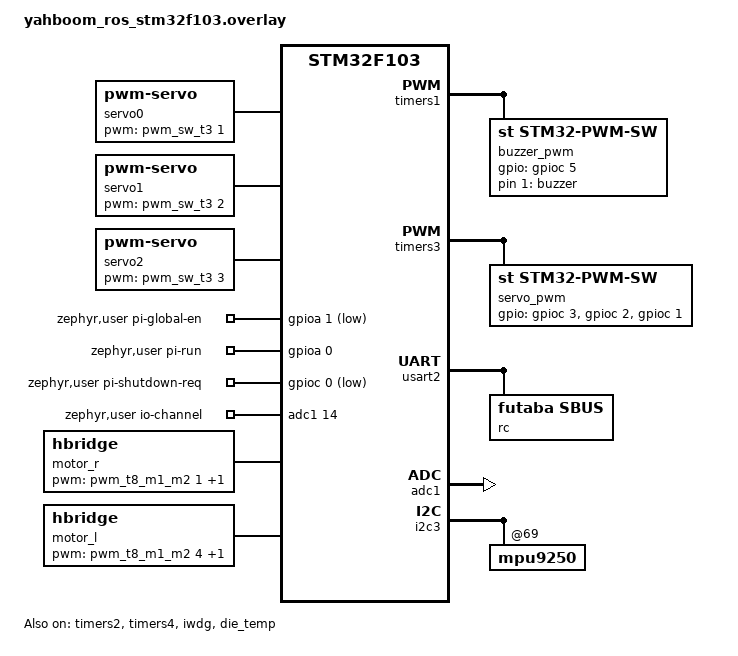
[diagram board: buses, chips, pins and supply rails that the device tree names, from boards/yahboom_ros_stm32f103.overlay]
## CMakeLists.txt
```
# SPDX-License-Identifier: Apache-2.0

cmake_minimum_required(VERSION 3.20.0)
find_package(Zephyr REQUIRED HINTS $ENV{ZEPHYR_BASE})
project(servo_motor)

execute_process(
    COMMAND git -C ${CMAKE_SOURCE_DIR} rev-parse --short HEAD
    OUTPUT_VARIABLE APP_GIT_SHA
    OUTPUT_STRIP_TRAILING_WHITESPACE
    ERROR_QUIET
)
if(NOT APP_GIT_SHA)
    set(APP_GIT_SHA "unknown")
endif()

target_sources(app PRIVATE src/main.c src/buzzer.c src/battery.c src/motor.c src/rc.c src/servo.c src/imu.c src/selftest.c src/protocol.c src/comms.c src/pi.c)
target_sources_ifdef(CONFIG_COMMS_MON app PRIVATE src/comms_mon.c)
target_compile_definitions(app PRIVATE APP_GIT_SHA="${APP_GIT_SHA}")
```

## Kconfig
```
# Copyright (c) 2024
# SPDX-License-Identifier: Apache-2.0

mainmenu "PICAR-2 Yahboom firmware"

config COMMS_MON
	bool "Enable comms monitor shell command"
	depends on SHELL
	default y
	help
	  Enables the 'comms mon' shell command that prints incoming Pi→STM32
	  frames in real time. Disable to save flash when the shell monitor
	  is not needed.

source "Kconfig.zephyr"
```

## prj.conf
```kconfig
CONFIG_STDOUT_CONSOLE=y
CONFIG_PRINTK=y

CONFIG_PWM=y

CONFIG_INPUT=y
CONFIG_INPUT_SBUS=y
CONFIG_INPUT_SBUS_THREAD_STACK_SIZE=512

CONFIG_ADC=y

CONFIG_SENSOR=y
CONFIG_QDEC_STM32=y
CONFIG_STM32_TEMP=y

CONFIG_MOTOR=y
CONFIG_MOTOR_HBRIDGE=y

CONFIG_SHELL=y
#CONFIG_SHELL_GETOPT=y
CONFIG_PWM_SHELL=y
CONFIG_GPIO_SHELL=y
CONFIG_SENSOR_SHELL=y
CONFIG_ADC_SHELL=y
CONFIG_SETTINGS_SHELL=y

CONFIG_THREAD_ANALYZER=y
#CONFIG_THREAD_ANALYZER_USE_PRINTK=y
#CONFIG_THREAD_ANALYZER_AUTO=y
#CONFIG_THREAD_ANALYZER_AUTO_INTERVAL=5

CONFIG_LOG=y
CONFIG_MOTOR_LOG_LEVEL_DBG=y

CONFIG_PICOLIBC=y
CONFIG_CBPRINTF_FP_SUPPORT=y

CONFIG_ISR_STACK_SIZE=1024
CONFIG_REBOOT=y

# Reset cause — pi.c uses it to tell a power-on from a warm reset, so an STM32
# reboot does not gate a Raspberry Pi that is already running.
CONFIG_HWINFO=y

CONFIG_UART_INTERRUPT_DRIVEN=y
CONFIG_UART_ASYNC_API=y
CONFIG_DMA=y
CONFIG_RING_BUFFER=y

# Shell UART backend buffers — 64-byte RX default overflows on paste and
# triggers LOG_WRN from ISR context; with LOG_MODE_IMMEDIATE that formats
# a string synchronously taking >10 µs, causing UART overrun (ORE) at
# 921600 baud and eating the next byte — exactly how ESC[A loses its '['.
# 256-byte RX prevents overflow; 256-byte TX prevents echo stalls.
# Suppress shell_uart WRN so even a future overflow won't re-enter msg_process
# from ISR with immediate-mode logging active.
CONFIG_SHELL_BACKEND_SERIAL_RX_RING_BUFFER_SIZE=256
CONFIG_SHELL_BACKEND_SERIAL_TX_RING_BUFFER_SIZE=256
CONFIG_SHELL_BACKEND_SERIAL_LOG_LEVEL_ERR=y
# Use DMA async API for the shell UART so the DMA controller handles every
# byte; eliminates per-byte RXNE ISR and the ORE overrun it caused at 921600.
CONFIG_SHELL_ASYNC_API=y
CONFIG_SHELL_BACKEND_SERIAL_ASYNC_RX_BUFFER_SIZE=64
```

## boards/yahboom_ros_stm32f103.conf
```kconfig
CONFIG_PWM_STM32_SW=y
CONFIG_SENSOR=y
CONFIG_PWM_STM32=y
CONFIG_MPU9250=y
CONFIG_MPU9250_TRIGGER_NONE=y
CONFIG_I2C=y
CONFIG_I2C_GPIO=y
CONFIG_I2C_SHELL=y
CONFIG_ZERO_LATENCY_IRQS=y

CONFIG_FLASH=y
CONFIG_FLASH_MAP=y
CONFIG_NVS=y
CONFIG_SETTINGS=y
CONFIG_SETTINGS_NVS=y
CONFIG_LOG=y

# picolibc 1.8.x in SDK 0.17.x has incompatible lock types with Zephyr v3.7.0
CONFIG_NEWLIB_LIBC=y
```

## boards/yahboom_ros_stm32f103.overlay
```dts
/* SPDX-License-Identifier: Apache-2.0 */
#include <zephyr/dt-bindings/sensor/qdec_stm32.h>
#include <zephyr/dt-bindings/input/input-event-codes.h>
/* Added after Zephyr 3.4 — define for older versions */
#ifndef INPUT_REL_WHEEL
#define INPUT_REL_WHEEL  0x08
#endif
#ifndef INPUT_ABS_RUDDER
#define INPUT_ABS_RUDDER 0x07
#endif
#ifndef INPUT_ABS_GAS
#define INPUT_ABS_GAS    0x09
#endif
#ifndef INPUT_ABS_BRAKE
#define INPUT_ABS_BRAKE  0x0a
#endif

/ {
	chosen {
		/* zephyr,uart-pipe = &usart1; */
	};

    servo0: nrf-servo0 {
        compatible = "pwm-servo";
        pwms = <&pwm_sw_t3 1 PWM_MSEC(20) PWM_POLARITY_NORMAL>;
        init_value = <1480>;
        min_pulse_us = <885>;
        max_pulse_us = <2025>;
        status = "okay";
    };

    servo1: servo1 {
        compatible = "pwm-servo";
        pwms = <&pwm_sw_t3 2 PWM_MSEC(20) PWM_POLARITY_NORMAL>;
        init_value = <1280>;
        min_pulse_us = <600>;
        max_pulse_us = <1960>;
        status = "okay";
    };

    servo2: servo2 {
        compatible = "pwm-servo";
        pwms = <&pwm_sw_t3 3 PWM_MSEC(20) PWM_POLARITY_NORMAL>;
        init_value = <2150>;
        min_pulse_us = <1100>;
        max_pulse_us = <2500>;
        status = "okay";
    };

	pwmbuzzer {
		compatible = "pwm-leds";
		status = "okay";

		buzzer: buzzer_pwm {
			pwms = <&pwm_sw_t1 1 PWM_HZ(880) PWM_POLARITY_NORMAL>;
		};
	};

	zephyr,user {
		/* adjust channel number according to pinmux in board.dts */
		io-channels = <&adc1 14>;

		/* Raspberry Pi 4 power control — J2 header.
		 * GLOBAL_EN (PA1): open-drain, idle Hi-Z. A low pulse restarts the
		 *   PMIC, which is how the Pi is woken after a POWER_OFF_ON_HALT
		 *   shutdown (GPIO wake is disabled in that mode).
		 * RUN (PA0): sense only. Sits behind a pull-up to the Pi's 3.3 V
		 *   rail, so it reads high while the Pi is powered and low when it
		 *   is not. Never driven — it is the SoC reset line. */
		pi-global-en-gpios = <&gpioa 1 GPIO_ACTIVE_LOW>;
		pi-run-gpios = <&gpioa 0 GPIO_ACTIVE_HIGH>;

		/* SHUTDOWN_REQ (PC0) → the Pi's GPIO26, running
		 * dtoverlay=gpio-shutdown. Open-drain, idle Hi-Z; a low pulse is
		 * turned into KEY_POWER by the Pi's kernel and logind runs a
		 * clean poweroff. Freed from pwm_sw_t3 channel 4 below. */
		pi-shutdown-req-gpios = <&gpioc 0 GPIO_ACTIVE_LOW>;
	};

	motor_r: motor_r {
        compatible = "hbridge";
        qdec-dev = < &qdec_r >;
        counts-per-rev = <824>;
        pwms = <&pwm_t8_m1_m2 1 PWM_MSEC(1) PWM_POLARITY_NORMAL>,
				<&pwm_t8_m1_m2 2 PWM_MSEC(1) PWM_POLARITY_NORMAL>;
		pid-gains = <91 0 100 100>; /* Kp=0.91 Kd=0 Ki=1.0 Ko=100 */
        status = "okay";
    };

	motor_l: motor_l {
        compatible = "hbridge";
        qdec-dev = < &qdec_l >;
        counts-per-rev = <824>;
        pwms = <&pwm_t8_m1_m2 4 PWM_MSEC(1) PWM_POLARITY_NORMAL>,
				<&pwm_t8_m1_m2 3 PWM_MSEC(1) PWM_POLARITY_NORMAL>;
		pid-gains = <91 0 100 100>; /* Kp=0.91 Kd=0 Ki=1.0 Ko=100 */
        status = "okay";
    };

};

&timers1 {
	st,prescaler = <100>;
	status = "okay";

	pwm_sw_t1: sw_pwm {
		compatible = "st,stm32-pwm-sw";
		status = "okay";
		label = "buzzer_pwm";
		gpios = <&gpioc 5 GPIO_ACTIVE_HIGH>;
		channels = <1>;
		#pwm-cells = <3>;
	};
};

&timers2 {
	st,prescaler = <1000>;
	status = "okay";

	qdec_r: qdec_r {
		status = "okay";
		compatible="st,stm32-input-qdec";
		pinctrl-0 = <&tim2_ch1_remap1_pwm_in_pa15 &tim2_ch2_remap1_pwm_in_pb3>;
		pinctrl-names = "default";
		st,input-filter-level = <NO_FILTER>;
		sample-time-us = <50000>;
		zephyr,axis = <INPUT_REL_WHEEL>;
	};
};

&timers3 {
	st,prescaler = <1000>;
	status = "okay";

	pwm_sw_t3: sw_pwm {
		compatible = "st,stm32-pwm-sw";
		status = "okay";
		zero-latency;
		label = "servo_pwm";
		/* Channel 4 (PC0) was declared but never referenced by a servo;
		 * PC0 is now SHUTDOWN_REQ, see zephyr,user above. */
		gpios = <&gpioc 3 GPIO_ACTIVE_HIGH>,
				<&gpioc 2 GPIO_ACTIVE_HIGH>,
				<&gpioc 1 GPIO_ACTIVE_HIGH>;
		channels = <1 2 3>;
		#pwm-cells = <3>;
	};
};

&timers4 {
	st,prescaler = <1000>;
	status = "okay";

	qdec_l: qdec_l {
		status = "okay";
		compatible="st,stm32-input-qdec";
		pinctrl-0 = <&tim2_ch1_remap1_pwm_in_pa15 &tim2_ch2_remap1_pwm_in_pb3>;
		pinctrl-names = "default";
		st,input-filter-level = <NO_FILTER>;
		sample-time-us = <50000>;
		zephyr,axis = <INPUT_REL_WHEEL>;
	};
};

&timers8 {
	st,prescaler = <1000>;
	status = "disabled";

	pwm_t8_m1_m2: pwm {
		label = "pwm_t8_m1_m2";
		status = "okay";
	};

};

/* Shell console: switch to DMA async RX+TX so the DMA controller handles
 * each byte without a per-byte ISR.  At 921600 baud the one-byte window is
 * only 10.85 µs; any zero-latency timer preemption causes ORE in IRQ mode.
 * STM32F103 DMA1: CH3 = USART3 RX, CH2 = USART3 TX (SPI1 not used). */
&usart3 {
	dmas = <&dma1 3 (STM32_DMA_PERIPH_RX | STM32_DMA_PRIORITY_HIGH)>,
	       <&dma1 2 (STM32_DMA_PERIPH_TX | STM32_DMA_PRIORITY_HIGH)>;
	dma-names = "rx", "tx";
};

&usart2 {
	status = "okay";
	rc: sbus {
		compatible = "futaba,sbus";
		status = "okay";
		ch_1 {
			channel = <1>;
			type = <INPUT_EV_ABS>;
			zephyr,code = <INPUT_ABS_RUDDER>;
		};
		ch_2 {
			channel = <2>;
			type = <INPUT_EV_ABS>;
			zephyr,code = <INPUT_ABS_GAS>;
		};
		ch_3 {
			channel = <3>;
			type = <INPUT_EV_ABS>;
			zephyr,code = <INPUT_ABS_BRAKE>;
		};
		ch_5 {
			channel = <5>;
			type = <INPUT_EV_KEY>;
			zephyr,code = <INPUT_BTN_SELECT>;  /* RC override switch */
		};
		ch_6 {
			channel = <6>;
			type = <INPUT_EV_KEY>;
			zephyr,code = <INPUT_BTN_MODE>;
		};
	};
};

&adc1 {
	status = "okay";
};

&iwdg {
	status = "okay";
};

&die_temp {
	status = "okay";
};

/* INA219 on bit-bang I2C4 (PC0=SCL, PC1=SDA) — disabled; PC0/PC1 freed for pan/tilt servos */
&i2c4 {
	status = "disabled";
	ina219: ina219@41 {
		status = "disabled";
	};
};

/* MPU9250 on bit-bang I2C3 (PB13=SCL, PB15=SDA) */
&i2c3 {
	status = "okay";
	mpu9250: mpu9250@69 {
		status = "okay";
	};
};
```

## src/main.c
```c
/*
 * Copyright (c) 2016 Intel Corporation
 *
 * SPDX-License-Identifier: Apache-2.0
 */

/**
 * @file Sample app to demonstrate PWM-based servomotor control
 */

#include <zephyr/kernel.h>
#include <zephyr/sys/printk.h>
#include <zephyr/sys/reboot.h>
#include <zephyr/version.h>
#include <soc.h>
#include <zephyr/device.h>
#include <zephyr/drivers/pwm.h>
#include <zephyr/drivers/rc.h>
#include <zephyr/drivers/uart.h>
#include <zephyr/drivers/uart_pipe.h>
#include "zephyr/drivers/motor.h"
#include <zephyr/logging/log.h>
#include <zephyr/shell/shell.h>
#include <zephyr/input/input.h>
//#include <unistd.h>
#include <ctype.h>
#include <stdlib.h>
#include <stdio.h>

#include "battery.h"
#include "buzzer.h"
#include "comms.h"
#include "imu.h"
#include "motor.h"
#include "pi.h"
#include "power.h"
#include "rc.h"
#include "servo.h"

LOG_MODULE_REGISTER(main, LOG_LEVEL_DBG);

/* STM32F103 system memory (ROM bootloader) address */
#define STM32_SYSTEM_MEMORY 0x1FFFF000U

void system_shutdown(void)
{
	rc_set_enable(0);
	motor_stop_all();
	servo_neutral_all();
	buzzer_stop();
	imu_shutdown();
	power_standby();
}

void power_standby(void)
{
	__disable_irq();
	SysTick->CTRL = 0;

	/* STM32F103 STANDBY: all I/O tri-stated, ~2 µA */
	RCC->APB1ENR |= RCC_APB1ENR_PWREN;
	PWR->CR |= PWR_CR_CWUF;
	PWR->CR |= PWR_CR_PDDS;
	SCB->SCR |= SCB_SCR_SLEEPDEEP_Msk;
	__DSB();
	__WFI();
}

static void jump_to_system_bootloader(void)
{
	uint32_t msp = *(volatile uint32_t *)STM32_SYSTEM_MEMORY;
	uint32_t pc  = *(volatile uint32_t *)(STM32_SYSTEM_MEMORY + 4U);

	/* Disable SysTick */
	SysTick->CTRL = 0;
	SysTick->LOAD = 0;
	SysTick->VAL  = 0;

	/* Disable all IRQs and clear pending */
	for (int i = 0; i < 8; i++) {
		NVIC->ICER[i] = 0xFFFFFFFFU;
		NVIC->ICPR[i] = 0xFFFFFFFFU;
	}

	/* Reset all APB peripherals so the ROM bootloader gets a clean USART1 */
	RCC->APB1RSTR = 0xFFFFFFFFU;
	RCC->APB2RSTR = 0xFFFFFFFFU;
	RCC->APB1RSTR = 0x00000000U;
	RCC->APB2RSTR = 0x00000000U;

	/* Point vector table at system memory */
	SCB->VTOR = STM32_SYSTEM_MEMORY;

	__DSB();
	__ISB();

	__set_MSP(msp);
	((void (*)(void))pc)();
}

#ifdef CONFIG_SHELL
static int cmd_sys_bootloader(const struct shell *sh, size_t argc, char **argv)
{
	shell_print(sh, "entering STM32 bootloader");
	k_msleep(50);
	jump_to_system_bootloader();
	return 0;
}

static int cmd_sys_reboot(const struct shell *sh, size_t argc, char **argv)
{
	shell_print(sh, "rebooting");
	k_msleep(50);
	sys_reboot(SYS_REBOOT_COLD);
	return 0;
}

static int cmd_sys_halt(const struct shell *sh, size_t argc, char **argv)
{
	shell_print(sh, "entering standby — reset pin or power cycle to wake");
	k_msleep(50);
	system_shutdown();
	return 0;
}

static int cmd_sys_uptime(const struct shell *sh, size_t argc, char **argv)
{
	int64_t ms = k_uptime_get();
	shell_print(sh, "%lld d %02lld:%02lld:%02lld.%03lld",
		ms / 86400000,
		ms / 3600000 % 24,
		ms / 60000   % 60,
		ms / 1000    % 60,
		ms           % 1000);
	return 0;
}

static int cmd_sys_version(const struct shell *sh, size_t argc, char **argv)
{
	shell_print(sh, "Zephyr  %s", KERNEL_VERSION_STRING);
	shell_print(sh, "app     %s", APP_GIT_SHA);
	shell_print(sh, "built   %s %s", __DATE__, __TIME__);
	return 0;
}

SHELL_STATIC_SUBCMD_SET_CREATE(sub_sys,
	SHELL_CMD(bootloader, NULL, "reboot into STM32 ROM bootloader", cmd_sys_bootloader),
	SHELL_CMD(halt,       NULL, "enter STANDBY (~2 µA); reset pin or power cycle to wake", cmd_sys_halt),
	SHELL_CMD(reboot,     NULL, "reboot the system", cmd_sys_reboot),
	SHELL_CMD(uptime,     NULL, "print time since boot", cmd_sys_uptime),
	SHELL_CMD(version,    NULL, "print kernel version", cmd_sys_version),
	SHELL_SUBCMD_SET_END
);

SHELL_CMD_REGISTER(sys, &sub_sys, "system commands", NULL);
#endif



int main(void)
{
	printk("Yahboom demo\n");
	buzzer_init();
	battery_init();
	imu_init();
	motor_init();
	servo_init();
	rc_init();
	pi_init();
	comms_init();

	//buzzer_play(BUZZER_FUNKYTOWN, 50);

	return 0;
}
```

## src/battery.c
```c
/*
 * Copyright (c) 2016 Intel Corporation
 *
 * SPDX-License-Identifier: Apache-2.0
 */

#include <zephyr/kernel.h>
#include <zephyr/drivers/adc.h>
#include <zephyr/drivers/adc_compat.h>
#include <zephyr/shell/shell.h>
#include <errno.h>
#include "pi.h"
#include "power.h"

#define ADC2VBAT(x)  ((x) * 4145 / 1000)

/* Set to 3 for 3S or 4 for 4S LiPo */
#define VBAT_CELLS    3

#define VBAT_MAX_MV  (4200 * VBAT_CELLS)  /* 4.2 V/cell — fully charged  */
#define VBAT_LOW_MV  (3500 * VBAT_CELLS)  /* 3.5 V/cell — warn threshold */
#define VBAT_CRIT_MV (3400 * VBAT_CELLS)  /* 3.4 V/cell — halt threshold */
#define VBAT_MIN_MV  (3300 * VBAT_CELLS)  /* 3.3 V/cell — practical empty */

static const struct adc_dt_spec adc_ch_vbat =
    ADC_DT_SPEC_GET_BY_IDX(DT_PATH(zephyr_user), 0);

static void battery_mon_func(struct k_work *work);

K_WORK_DELAYABLE_DEFINE(battery_mon_work, battery_mon_func);

/* ── INA219 (optional) ───────────────────────────────────────────────────── */
#if DT_NODE_HAS_STATUS(DT_NODELABEL(ina219), okay)
#include <zephyr/drivers/sensor.h>

static const struct device *ina219_dev = DEVICE_DT_GET(DT_NODELABEL(ina219));

/* Reads any combination of battery voltage (mv), current (ma), power (mw).
 * mv = V_bus + V_shunt = battery voltage on V+ side of shunt.
 * V_shunt is computed as I × R_shunt (driver does not expose it as a channel).
 * Pass NULL for channels not needed. Returns 0 on success. */
static int ina219_read(int32_t *mv, int32_t *ma, int32_t *mw)
{
	if (!device_is_ready(ina219_dev)) {
		return -ENODEV;
	}
	int err = sensor_sample_fetch(ina219_dev);
	if (err) {
		return err;
	}
	struct sensor_value val;
	int32_t current_ma = 0;

	/* Always read current — needed for V_shunt correction even if caller
	 * only asked for voltage. */
	sensor_channel_get(ina219_dev, SENSOR_CHAN_CURRENT, &val);
	current_ma = val.val1 * 1000 + val.val2 / 1000;

	if (mv) {
		sensor_channel_get(ina219_dev, SENSOR_CHAN_VOLTAGE, &val);
		int32_t bus_mv = val.val1 * 1000 + val.val2 / 1000;
		/* V_shunt_mV = I_mA × R_shunt_mΩ / 1000 */
		int32_t vshunt_mv = (current_ma *
			DT_PROP(DT_NODELABEL(ina219), shunt_milliohm)) / 1000;
		*mv = bus_mv + vshunt_mv;
	}
	if (ma) {
		*ma = current_ma;
	}
	if (mw) {
		sensor_channel_get(ina219_dev, SENSOR_CHAN_POWER, &val);
		*mw = val.val1 * 1000 + val.val2 / 1000;
	}
	return 0;
}
#endif /* DT_NODE_HAS_STATUS(ina219) */

/* ── Public API ──────────────────────────────────────────────────────────── */

int battery_init() {
	if (!adc_is_ready_dt(&adc_ch_vbat)) {
		printk("ADC controller device %s not ready\n", adc_ch_vbat.dev->name);
		return -EBUSY;
	}

	int err = adc_channel_setup_dt(&adc_ch_vbat);
	if (err < 0) {
		printk("Could not setup channel #%d (%d)\n", adc_ch_vbat.channel_id, err);
		return err;
	}
	k_work_reschedule(&battery_mon_work, K_SECONDS(5));
	return 0;
}

int battery_read(int32_t *mv, uint8_t *pct)
{
	int32_t val_mv = 0;
	bool use_adc = true;

#if DT_NODE_HAS_STATUS(DT_NODELABEL(ina219), okay)
	if (ina219_read(&val_mv, NULL, NULL) == 0) {
		use_adc = false;
	}
#endif

	if (use_adc) {
		uint16_t buf;
		struct adc_sequence sequence = {
			.buffer = &buf,
			.buffer_size = sizeof(buf),
		};
		adc_sequence_init_dt(&adc_ch_vbat, &sequence);
		int err = adc_read_dt(&adc_ch_vbat, &sequence);
		if (err) {
			return err;
		}
		val_mv = (int32_t)buf;
		adc_raw_to_millivolts_dt(&adc_ch_vbat, &val_mv);
		val_mv = ADC2VBAT(val_mv);
	}

	if (mv) {
		*mv = val_mv;
	}
	if (pct) {
		*pct = (uint8_t)CLAMP((val_mv - VBAT_MIN_MV) * 100 / (VBAT_MAX_MV - VBAT_MIN_MV), 0, 100);
	}
	return 0;
}

static void battery_mon_func(struct k_work *work)
{
	int32_t val;
	int err = battery_read(&val, NULL);

	if (err) {
		printk("read battery voltage error %d\n", err);
		k_work_reschedule(&battery_mon_work, K_SECONDS(5));
		return;
	}
	if (val < VBAT_CRIT_MV) {
		printk("CRITICAL: battery %d mV — shutting down\n", val);

		/* Drop the load first: motors and servos are most of the draw,
		 * and driving on a pack this low is how cells get damaged. */
		system_peripherals_down();

		/* Then the Pi. It is cut if it does not go down by itself —
		 * a deep-discharged pack is a worse outcome than a dirty
		 * filesystem, and leaving a ~3 W load running guarantees one.
		 * This blocks the system workqueue for up to the grace period,
		 * which is acceptable only because nothing after this point
		 * matters: the next step is sleep. pi_shutdown() logs the
		 * outcome itself. */
		(void)pi_shutdown(PI_SHUTDOWN_GRACE_MS);

		/* STOP, not STANDBY: STANDBY tri-states GLOBAL_EN, which
		 * releases the Pi gate and reboots the load we just removed. */
		int rc = power_stop();

		/* Only returns if STOP could not be entered. */
		printk("STOP failed (%d) — load is down, still draining\n", rc);
		k_work_reschedule(&battery_mon_work, K_SECONDS(5));
		return;
	}
	if (val < VBAT_LOW_MV) {
		printk("WARNING: low battery: %d mV\n", val);
	}
	k_work_reschedule(&battery_mon_work, K_SECONDS(5));
}


#ifdef CONFIG_SHELL

static int cmd_voltage(const struct shell *sh, size_t argc, char **argv)
{
	int32_t val;
	int err = battery_read(&val, NULL);

	if (err) {
		shell_error(sh, "error %d", err);
		return err;
	}
	shell_print(sh, "%d mV", val);
	return 0;
}

static int cmd_level(const struct shell *sh, size_t argc, char **argv)
{
	uint8_t pct;
	int err = battery_read(NULL, &pct);

	if (err) {
		shell_error(sh, "error %d", err);
		return err;
	}
	shell_print(sh, "%d%%", pct);
	return 0;
}

static int cmd_info(const struct shell *sh, size_t argc, char **argv)
{
	int32_t val;
	uint8_t pct;
	int err = battery_read(&val, &pct);

	if (err) {
		shell_error(sh, "error %d", err);
		return err;
	}
	shell_print(sh, "cells     %dS", VBAT_CELLS);
	shell_print(sh, "max       %d mV  (%.1f V/cell)", VBAT_MAX_MV,  4200 / 1000.0);
	shell_print(sh, "low       %d mV  (%.1f V/cell)", VBAT_LOW_MV,  3500 / 1000.0);
	shell_print(sh, "critical  %d mV  (%.1f V/cell)", VBAT_CRIT_MV, 3400 / 1000.0);
	shell_print(sh, "empty     %d mV  (%.1f V/cell)", VBAT_MIN_MV,  3300 / 1000.0);
	shell_print(sh, "voltage   %d mV", val);
	shell_print(sh, "level     %d%%", pct);
#if DT_NODE_HAS_STATUS(DT_NODELABEL(ina219), okay)
	int32_t ma, mw;
	if (ina219_read(NULL, &ma, &mw) == 0) {
		shell_print(sh, "current   %d mA", ma);
		shell_print(sh, "power     %d mW", mw);
	}
#endif
	return 0;
}

SHELL_STATIC_SUBCMD_SET_CREATE(sub_battery,
	SHELL_CMD(info,    NULL, "Dump cell config, thresholds, voltage and level", cmd_info),
	SHELL_CMD(voltage, NULL, "Print battery voltage in mV", cmd_voltage),
	SHELL_CMD(level,   NULL, "Print battery charge level in %%", cmd_level),
	SHELL_SUBCMD_SET_END
);

SHELL_CMD_REGISTER(battery, &sub_battery, "Battery commands", NULL);
#endif
```

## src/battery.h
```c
/*
 * Copyright (c) 2024
 *
 * SPDX-License-Identifier: Apache-2.0
 */
#ifndef _battery_h_
#define _battery_h_

int battery_init();
int battery_read(int32_t *mv, uint8_t *pct);

#endif
```

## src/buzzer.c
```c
/*
 * Copyright (c) 2016 Intel Corporation
 *
 * SPDX-License-Identifier: Apache-2.0
 */

/**
 * @file Sample app to demonstrate PWM-based servomotor control
 */

#include <zephyr/kernel.h>
#include <zephyr/drivers/pwm.h>
#include <zephyr/drivers/pwm_compat.h>
#include <zephyr/shell/shell.h>
#include "buzzer.h"

static const struct pwm_dt_spec sBuzzer = PWM_DT_SPEC_GET(DT_NODELABEL(buzzer));

#define sixteenth 38
#define eigth 75
#define quarter 150
#define half 300
#define whole 600

#define C4  262
#define Db4 277
#define D4  294
#define Eb4 311
#define E4  330
#define F4  349
#define Gb4 370
#define G4  392
#define Ab4 415
#define A4  440
#define Bb4 466
#define B4  494
#define C5  523
#define Db5 554
#define D5  587
#define Eb5 622
#define E5  659
#define F5  698
#define Gb5 740
#define G5  784
#define Ab5 831
#define A5  880
#define Bb5 932
#define B5  988
#define C6  1046
#define Db6 1109
#define D6  1175
#define Eb6 1245
#define E6  1319
#define F6  1397
#define Gb6 1480
#define G6  1568
#define Ab6 1661
#define A6  1760
#define Bb6 1865
#define B6  1976

#define REST 1
#define END 0

#define MAX_LEN 1000

struct note_duration
{
	int note;	  // hz
	int duration; // msec
};

static const struct note_duration mario_song[] = {
	{.note = E6, .duration = quarter},
	{.note = REST, .duration = eigth},
	{.note = E6, .duration = quarter},
	{.note = REST, .duration = quarter},
	{.note = E6, .duration = quarter},
	{.note = REST, .duration = quarter},
	{.note = C6, .duration = quarter},
	{.note = E6, .duration = half},
	{.note = G6, .duration = half},
	{.note = REST, .duration = quarter},
	{.note = G4, .duration = whole},
	{.note = REST, .duration = whole},
	// break in sound
	{.note = C6, .duration = half},
	{.note = REST, .duration = quarter},
	{.note = G5, .duration = half},
	{.note = REST, .duration = quarter},
	{.note = E5, .duration = half},
	{.note = REST, .duration = quarter},
	{.note = A5, .duration = quarter},
	{.note = REST, .duration = quarter},
	{.note = B5, .duration = quarter},
	{.note = REST, .duration = quarter},
	{.note = Bb5, .duration = quarter},
	{.note = A5, .duration = half},
	{.note = G5, .duration = quarter},
	{.note = E6, .duration = quarter},
	{.note = G6, .duration = quarter},
	{.note = A6, .duration = half},
	{.note = F6, .duration = quarter},
	{.note = G6, .duration = quarter},
	{.note = REST, .duration = quarter},
	{.note = E6, .duration = quarter},
	{.note = REST, .duration = quarter},
	{.note = C6, .duration = quarter},
	{.note = D6, .duration = quarter},
	{.note = B5, .duration = quarter},
	{.note = END}
};

static const struct note_duration funkytown_song[] = {
	{.note = C5, .duration = quarter},
	{.note = REST, .duration = eigth},
	{.note = C5, .duration = quarter},
	{.note = Bb4, .duration = quarter},
	{.note = C5, .duration = quarter},
	{.note = REST, .duration = quarter},
	{.note = G4, .duration = quarter},
	{.note = REST, .duration = quarter},
	{.note = G4, .duration = quarter},
	{.note = C5, .duration = quarter},
	{.note = F5, .duration = quarter},
	{.note = E5, .duration = quarter},
	{.note = C5, .duration = quarter},
	{.note = END}
};

/* Tetris runs at half the base tempo. */
#define T_eigth   (eigth   * 2)
#define T_quarter (quarter * 2)
#define T_half    (half    * 2)

static const struct note_duration tetris_song[] = {
	/* Korobeiniki — Tetris Theme A */
	{.note = E5,  .duration = T_quarter},
	{.note = B4,  .duration = T_eigth},
	{.note = C5,  .duration = T_eigth},
	{.note = D5,  .duration = T_quarter},
	{.note = C5,  .duration = T_eigth},
	{.note = B4,  .duration = T_eigth},
	{.note = A4,  .duration = T_quarter},
	{.note = A4,  .duration = T_eigth},
	{.note = C5,  .duration = T_eigth},
	{.note = E5,  .duration = T_quarter},
	{.note = D5,  .duration = T_eigth},
	{.note = C5,  .duration = T_eigth},
	{.note = B4,  .duration = T_quarter + T_eigth},
	{.note = C5,  .duration = T_eigth},
	{.note = D5,  .duration = T_quarter},
	{.note = E5,  .duration = T_quarter},
	{.note = C5,  .duration = T_quarter},
	{.note = A4,  .duration = T_quarter},
	{.note = A4,  .duration = T_half},
	{.note = REST, .duration = T_quarter},

	{.note = D5,  .duration = T_quarter + T_eigth},
	{.note = F5,  .duration = T_eigth},
	{.note = A5,  .duration = T_quarter},
	{.note = G5,  .duration = T_eigth},
	{.note = F5,  .duration = T_eigth},
	{.note = E5,  .duration = T_quarter + T_eigth},
	{.note = C5,  .duration = T_eigth},
	{.note = E5,  .duration = T_quarter},
	{.note = D5,  .duration = T_eigth},
	{.note = C5,  .duration = T_eigth},
	{.note = B4,  .duration = T_quarter},
	{.note = B4,  .duration = T_eigth},
	{.note = C5,  .duration = T_eigth},
	{.note = D5,  .duration = T_quarter},
	{.note = E5,  .duration = T_quarter},
	{.note = C5,  .duration = T_quarter},
	{.note = A4,  .duration = T_quarter},
	{.note = A4,  .duration = T_half},
	{.note = REST, .duration = T_quarter},
	{.note = END}
};

static const struct note_duration *songs[] = {
	mario_song,
	funkytown_song,
	tetris_song,
};

static const char *song_names[] = {
	"mario",
	"funkytown",
	"tetris",
};

static K_SEM_DEFINE(play_sem, 0, 1);
static atomic_t stop_flag;
static const struct note_duration *pending_song;
static uint8_t pending_volume;

static void buzzer_play_song(const struct note_duration *song, uint8_t volume)
{
	pwm_set_pulse_dt(&sBuzzer, 0);
	for (int i = 0; i < MAX_LEN; i++) {
		if (atomic_get(&stop_flag) || song[i].note == END) {
			break;
		} else if (song[i].note < 10) {
			pwm_set_pulse_dt(&sBuzzer, 0);
			k_msleep(song[i].duration);
		} else {
			pwm_set_dt(&sBuzzer, PWM_HZ(song[i].note),
				   PWM_HZ(song[i].note) * volume / 200);
			k_msleep(song[i].duration);
		}
	}
	pwm_set_pulse_dt(&sBuzzer, 0);
}

static void buzzer_thread_fn(void *p1, void *p2, void *p3)
{
	while (1) {
		k_sem_take(&play_sem, K_FOREVER);
		atomic_clear(&stop_flag);
		buzzer_play_song(pending_song, pending_volume);
	}
}

K_THREAD_DEFINE(buzzer_tid, 1024, buzzer_thread_fn, NULL, NULL, NULL, 10, 0, 0);

int buzzer_init() {
	if (!pwm_is_ready_dt(&sBuzzer)) {
		printk("Error: PWM device %s is not ready\n", sBuzzer.dev->name);
		return -EBUSY;
	}
	pwm_set_pulse_dt(&sBuzzer, 0);
	return 0;
}

void buzzer_stop(void)
{
	atomic_set(&stop_flag, 1);
	pwm_set_pulse_dt(&sBuzzer, 0);
}

int buzzer_play(enum buzzer_sound id, uint8_t volume) {
	if (id > BUZZER_LAST || volume > 100)
		return -EINVAL;
	atomic_set(&stop_flag, 1);
	pending_song   = songs[id];
	pending_volume = volume;
	k_sem_give(&play_sem);
	return 0;
}

static int cmd_buzzer_play(const struct shell *sh, size_t argc,
			      char **argv)
{
	uint32_t id, vol;
	if (argc < 3 || sscanf(argv[1],"%u", &id) != 1 
		|| sscanf(argv[2],"%u", &vol) != 1) {
		shell_help(sh);
		return -EINVAL;
	}
	return buzzer_play(id, vol);
}

static int cmd_buzzer_list(const struct shell *sh, size_t argc, char **argv)
{
	for (int i = 0; i < ARRAY_SIZE(song_names); i++) {
		shell_print(sh, "%d  %s", i, song_names[i]);
	}
	return 0;
}

static int cmd_buzzer_stop(const struct shell *sh, size_t argc, char **argv)
{
	atomic_set(&stop_flag, 1);
	return 0;
}

SHELL_STATIC_SUBCMD_SET_CREATE(sub_buzzer,
	SHELL_CMD(list, NULL, "List available songs", cmd_buzzer_list),
	SHELL_CMD(play, NULL, "id volume", cmd_buzzer_play),
	SHELL_CMD(stop, NULL, "Stop playback", cmd_buzzer_stop),
	SHELL_SUBCMD_SET_END
);

SHELL_CMD_REGISTER(buzzer, &sub_buzzer, "Buzzer commands", NULL);
```

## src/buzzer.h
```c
/*
 * Copyright (c) 2024
 *
 * SPDX-License-Identifier: Apache-2.0
 */
#ifndef _buzzer_h_
#define _buzzer_h_

enum buzzer_sound {
	BUZZER_MARIO,
	BUZZER_FUNKYTOWN,
	BUZZER_TETRIS,
	BUZZER_LAST = BUZZER_TETRIS
};

int buzzer_init();
int buzzer_play(enum buzzer_sound id, uint8_t volume);
void buzzer_stop(void);

#endif
```

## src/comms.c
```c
/*
 * Copyright (c) 2024
 *
 * SPDX-License-Identifier: Apache-2.0
 */

#include <stdlib.h>
#include <zephyr/kernel.h>
#include <zephyr/sys/byteorder.h>
#include <zephyr/shell/shell.h>
#include "protocol.h"
#include "comms.h"
#include "comms_mon.h"
#include "motor.h"
#include "servo.h"
#include "imu.h"
#include "battery.h"
#include "rc.h"

/* STM32 → Pi stream IDs */
#define STREAM_JOINT  0x01
#define STREAM_IMU    0x02
#define STREAM_BAT    0x03
#define STREAM_STATS  0x04
#define STREAM_MAX    4    /* valid IDs: 1..3; index 0 unused; STATS is one-shot */

/* STM32 → Pi timesync response */
#define MSG_TIMESYNC_RESP 0x05

/* STM32 → Pi PID velocity telemetry (separate timer, outside STREAM_MAX array) */
#define STREAM_PID    0x06

#define COMMS_KO 100  /* gain scale factor, matches DEF_KO in motor.c */

static inline int64_t decode_le64(const uint8_t *p)
{
	return (int64_t)((uint64_t)sys_get_le32(p) |
			 ((uint64_t)sys_get_le32(p + 4) << 32));
}

static int64_t get_uptime_us(void)
{
	return (int64_t)(k_cycle_get_64() / 72u);
}

static const struct device *pi_uart;
static bool connected;
static uint8_t js_seq;

static struct k_timer stream_tmr[STREAM_MAX];
static struct k_work  stream_wrk[STREAM_MAX];

static uint32_t tx_frames[STREAM_MAX];
static uint32_t rx_unknown;
static uint32_t rx_short;

/* Last CMD_VEL setpoints — mirrored into STREAM_PID */
static int32_t cmd_vel_L;
static int32_t cmd_vel_R;

/* PID velocity telemetry stream (own timer, independent of stream_tmr[]) */
static struct k_timer pid_tmr;
static struct k_work  pid_wrk;

/* Timesync state */
static uint32_t ts_count;
static bool     ts_offset_valid;
static int64_t  ts_offset_us;
static int64_t  ts_t1_prev;
static int64_t  ts_t2_prev;
static int64_t  ts_last_rx_ms;
static int64_t  ts_offsets[8];
static int      ts_hist_idx;
static bool     ts_last_raw_valid;
static int64_t  ts_last_raw;
static int64_t  ts_diffs[8];
static int      ts_diff_idx;
static int      ts_diff_count;

static void on_timeout(struct k_work *w);
static K_WORK_DELAYABLE_DEFINE(watchdog_work, on_timeout);

static void send_frame(uint8_t type, const uint8_t *payload, uint8_t len)
{
	uint8_t frame[4 + PROTO_MAX_LEN];
	int n = proto_encode(type, payload, len, frame);

	proto_tx(frame, n);
	if (type < STREAM_MAX) {
		tx_frames[type]++;
	}
}


static void send_timesync_resp(int64_t t2)
{
	uint8_t payload[8];

	sys_put_le32((uint32_t)((uint64_t)t2 & 0xFFFFFFFFu), &payload[0]);
	sys_put_le32((uint32_t)((uint64_t)t2 >> 32),         &payload[4]);
	send_frame(MSG_TIMESYNC_RESP, payload, 8);
}

static void send_pid_state(void)
{
	int32_t al = 0, ar = 0;
	uint8_t payload[8];

	motor_vel(MOTOR_L, &al);
	motor_vel(MOTOR_R, &ar);
	sys_put_le16((uint16_t)(int16_t)cmd_vel_L, &payload[0]);
	sys_put_le16((uint16_t)(int16_t)al,         &payload[2]);
	sys_put_le16((uint16_t)(int16_t)cmd_vel_R, &payload[4]);
	sys_put_le16((uint16_t)(int16_t)ar,         &payload[6]);
	send_frame(STREAM_PID, payload, sizeof(payload));
}

static void pid_work_fn(struct k_work *w)
{
	ARG_UNUSED(w);
	send_pid_state();
}

static void pid_timer_fn(struct k_timer *t)
{
	ARG_UNUSED(t);
	k_work_submit(&pid_wrk);
}

static void send_joint_state(void)
{
	int32_t el = 0, er = 0, vl = 0, vr = 0;
	int16_t steer = 0;
	uint8_t payload[23];

	motor_pos(MOTOR_L, &el);
	motor_pos(MOTOR_R, &er);
	motor_vel(MOTOR_L, &vl);
	motor_vel(MOTOR_R, &vr);
	servo_get(&steer);

	sys_put_le32((uint32_t)el, &payload[0]);
	sys_put_le32((uint32_t)er, &payload[4]);
	sys_put_le16(steer,                    &payload[8]);
	payload[10] = js_seq++;
	sys_put_le16((uint16_t)(int16_t)vl,   &payload[11]);
	sys_put_le16((uint16_t)(int16_t)vr,   &payload[13]);

	int64_t pi_time = ts_offset_valid ? get_uptime_us() + ts_offset_us : 0LL;

	sys_put_le32((uint32_t)((uint64_t)pi_time & 0xFFFFFFFFu), &payload[15]);
	sys_put_le32((uint32_t)((uint64_t)pi_time >> 32),         &payload[19]);

	send_frame(STREAM_JOINT, payload, sizeof(payload));
}

static void send_imu(void)
{
	struct imu_data d;
	uint8_t payload[20];
	if (imu_get_data(&d) != 0) {
		return;
	}
	for (int i = 0; i < 3; i++) {
		sys_put_le16((uint16_t)d.accel[i], &payload[i * 2]);
		sys_put_le16((uint16_t)d.gyro[i],  &payload[6 + i * 2]);
		sys_put_le16((uint16_t)d.magn[i],  &payload[12 + i * 2]);
	}
	sys_put_le16((uint16_t)d.temp, &payload[18]);

	send_frame(STREAM_IMU, payload, sizeof(payload));
}

static void send_battery(void)
{
	int32_t mv = 0;
	uint8_t pct = 0;
	uint8_t payload[4];

	if (battery_read(&mv, &pct) != 0) {
		return;
	}

	sys_put_le16((uint16_t)mv, &payload[0]);
	payload[2] = pct;
	payload[3] = 0;

	send_frame(STREAM_BAT, payload, sizeof(payload));
}

static void send_stats(void)
{
	struct proto_stats ps;
	uint8_t payload[24];
	uint32_t tx_total = 0;

	proto_get_stats(&ps);
	for (int i = 1; i < STREAM_MAX; i++) {
		tx_total += tx_frames[i];
	}

	sys_put_le32(ps.rx_frames,  &payload[0]);
	sys_put_le32(ps.rx_crc_err, &payload[4]);
	sys_put_le32(ps.rx_len_err, &payload[8]);
	sys_put_le32(rx_short,      &payload[12]);
	sys_put_le32(rx_unknown,    &payload[16]);
	sys_put_le32(tx_total,      &payload[20]);

	send_frame(STREAM_STATS, payload, sizeof(payload));
}

static void send_stream(uint8_t id)
{
	switch (id) {
	case STREAM_JOINT: send_joint_state(); break;
	case STREAM_IMU:   send_imu();         break;
	case STREAM_BAT:   send_battery();     break;
	}
}

static void stream_work_fn(struct k_work *w)
{
	int id = (int)(w - stream_wrk);

	send_stream((uint8_t)id);
}

static void timer_expiry_fn(struct k_timer *t)
{
	int id = (int)(uintptr_t)k_timer_user_data_get(t);

	k_work_submit(&stream_wrk[id]);
}

static void on_timeout(struct k_work *w)
{
	connected = false;
	rc_set_enable(1);
}


static void comms_rx(uint8_t type, const uint8_t *payload, uint8_t len)
{
	k_work_reschedule(&watchdog_work, K_MSEC(500));
	if (!connected) {
		connected = true;
		rc_set_enable(0);
	}

	comms_mon_rx(type, payload, len);

	switch (type) {
	case MSG_CMD_VEL:
		if (len < 6) {
			rx_short++;
			break;
		}
		cmd_vel_L = (int32_t)(int16_t)sys_get_le16(&payload[0]);
		cmd_vel_R = (int32_t)(int16_t)sys_get_le16(&payload[2]);
		if (!rc_get_override()) {
			motor_speed(MOTOR_L, cmd_vel_L);
			motor_speed(MOTOR_R, cmd_vel_R);
			servo_write_delta(0, (int16_t)sys_get_le16(&payload[4]));
		}
		break;

	case MSG_REQ:
		if (len < 1) {
			rx_short++;
			break;
		}
		send_stream(payload[0]);
		break;

	case MSG_SET_RATE: {
		if (len < 3) {
			rx_short++;
			break;
		}
		uint8_t id = payload[0];
		uint16_t hz = sys_get_le16(&payload[1]);

		if (id == STREAM_PID) {
			if (hz == 0) {
				k_timer_stop(&pid_tmr);
			} else {
				uint32_t period_ms = 1000u / hz;

				if (period_ms == 0) {
					period_ms = 1;
				}
				k_timer_start(&pid_tmr,
					      K_MSEC(period_ms), K_MSEC(period_ms));
			}
			break;
		}

		if (id < 1 || id >= STREAM_MAX) {
			break;
		}
		if (hz == 0) {
			k_timer_stop(&stream_tmr[id]);
		} else {
			uint32_t period_ms = 1000u / hz;

			if (period_ms == 0) {
				period_ms = 1;
			}
			k_timer_start(&stream_tmr[id],
				      K_MSEC(period_ms), K_MSEC(period_ms));
		}
		break;
	}

	case MSG_PID_SET: {
		if (len < 7) {
			rx_short++;
			break;
		}
		uint8_t mid = payload[0];
		int32_t kp  = (int32_t)(int16_t)sys_get_le16(&payload[1]);
		int32_t ki  = (int32_t)(int16_t)sys_get_le16(&payload[3]);
		int32_t kd  = (int32_t)(int16_t)sys_get_le16(&payload[5]);

		if (mid == 0 || mid == 2) {
			motor_set_pid_gains(MOTOR_L, kp, kd, ki);
		}
		if (mid == 1 || mid == 2) {
			motor_set_pid_gains(MOTOR_R, kp, kd, ki);
		}
		break;
	}

	case MSG_SERVO_CENTER: {
		/* [0] servo_id  [1:2] center_us LE */
		if (len < 3) { rx_short++; break; }
		servo_set_center(payload[0], sys_get_le16(&payload[1]));
		break;
	}

	case MSG_SERVO_WRITE: {
		/* [0] servo_id  [1:2] delta_us LE (signed, from center) */
		if (len < 3) { rx_short++; break; }
		if (!rc_get_override()) {
			servo_write_delta(payload[0],
					  (int16_t)sys_get_le16(&payload[1]));
		}
		break;
	}

	case MSG_GET_STATS:
		if (len >= 1 && payload[0]) {
			proto_clear_stats();
			rx_unknown = rx_short = 0;
			for (int i = 0; i < STREAM_MAX; i++) {
				tx_frames[i] = 0;
			}
		}
		send_stats();
		break;

	case MSG_TIMESYNC: {
		if (len < 16) {
			rx_short++;
			break;
		}
		int64_t t2      = get_uptime_us();
		int64_t t1      = decode_le64(&payload[0]);
		int64_t t4_prev = decode_le64(&payload[8]);

		ts_last_rx_ms = k_uptime_get();
		ts_count++;

		if (t4_prev != 0 && ts_t1_prev != 0) {
			/* offset = Pi_midtime - STM32_receive, so pi_time = stm32_us + offset */
			int64_t raw = (ts_t1_prev + t4_prev) / 2 - ts_t2_prev;

			ts_offsets[ts_hist_idx++ % 8] = raw;
			ts_offset_us    = raw;
			ts_offset_valid = true;

			if (ts_last_raw_valid) {
				int64_t diff = raw - ts_last_raw;

				if (diff < 0) diff = -diff;
				ts_diffs[ts_diff_idx++ % 8] = diff;
				if (ts_diff_count < 8) ts_diff_count++;
			}
			ts_last_raw       = raw;
			ts_last_raw_valid = true;
		}
		ts_t1_prev = t1;
		ts_t2_prev = t2;
		send_timesync_resp(t2);
		break;
	}

	default:
		rx_unknown++;
		break;
	}
}

void comms_init(void)
{
	pi_uart = DEVICE_DT_GET(DT_NODELABEL(usart1));

	for (int i = 1; i < STREAM_MAX; i++) {
		k_work_init(&stream_wrk[i], stream_work_fn);
		k_timer_init(&stream_tmr[i], timer_expiry_fn, NULL);
		k_timer_user_data_set(&stream_tmr[i], (void *)(uintptr_t)i);
	}

	k_work_init(&pid_wrk, pid_work_fn);
	k_timer_init(&pid_tmr, pid_timer_fn, NULL);

	proto_init(pi_uart, comms_rx);
}

#ifdef CONFIG_SHELL

static int cmd_comms_stats(const struct shell *sh, size_t argc, char **argv)
{
	struct proto_stats ps;
	uint32_t tx_total = 0;

	proto_get_stats(&ps);
	for (int i = 1; i < STREAM_MAX; i++) {
		tx_total += tx_frames[i];
	}

	shell_print(sh, "rx frames       %u", ps.rx_frames);
	shell_print(sh, "rx crc_err      %u", ps.rx_crc_err);
	shell_print(sh, "rx len_err      %u", ps.rx_len_err);
	shell_print(sh, "rx short        %u", rx_short);
	shell_print(sh, "rx unknown      %u", rx_unknown);
	shell_print(sh, "rx drop         %u", ps.rx_drop);
	shell_print(sh, "rx dma_restart  %u", ps.rx_dma_restart);
	shell_print(sh, "tx frames       %u", tx_total);
	shell_print(sh, "tx abort        %u", ps.tx_abort);
	shell_print(sh, "connected       %s", connected ? "yes" : "no");
	return 0;
}

static int cmd_comms_stats_clear(const struct shell *sh, size_t argc, char **argv)
{
	proto_clear_stats();
	rx_unknown = rx_short = 0;
	for (int i = 0; i < STREAM_MAX; i++) {
		tx_frames[i] = 0;
	}
	shell_print(sh, "cleared");
	return 0;
}

SHELL_STATIC_SUBCMD_SET_CREATE(sub_comms_stats,
	SHELL_CMD(clear, NULL, "Clear protocol statistics", cmd_comms_stats_clear),
	SHELL_SUBCMD_SET_END
);

static int cmd_comms_baud(const struct shell *sh, size_t argc, char **argv)
{
	if (argc == 1) {
		shell_print(sh, "%u", proto_get_baud());
		return 0;
	}

	char *end;
	uint32_t baud = strtoul(argv[1], &end, 10);
	int ret;

	if (*end != '\0' || baud == 0) {
		shell_error(sh, "invalid baud rate");
		return -EINVAL;
	}

	ret = proto_set_baud(baud);
	if (ret) {
		shell_error(sh, "failed (%d)", ret);
		return ret;
	}

	shell_print(sh, "%u", baud);
	return 0;
}

SHELL_SUBCMD_SET_CREATE(sub_comms, (comms));
SHELL_SUBCMD_ADD((comms), stats, &sub_comms_stats, "Print protocol statistics",
		 cmd_comms_stats, 0, 0);
SHELL_SUBCMD_ADD((comms), baud, NULL, "Get/set USART1 baud rate [rate]",
		 cmd_comms_baud, 0, 1);
SHELL_CMD_REGISTER(comms, &sub_comms, "Comms commands", NULL);

static int cmd_ts_status(const struct shell *sh, size_t argc, char **argv)
{
	ARG_UNUSED(argc);
	ARG_UNUSED(argv);
	if (ts_offset_valid) {
		int64_t mn = ts_offsets[0], mx = ts_offsets[0];

		for (int i = 1; i < 8; i++) {
			if (ts_offsets[i] < mn) mn = ts_offsets[i];
			if (ts_offsets[i] > mx) mx = ts_offsets[i];
		}
		int64_t avg_diff = 0;

		if (ts_diff_count > 0) {
			for (int i = 0; i < ts_diff_count; i++) avg_diff += ts_diffs[i];
			avg_diff /= ts_diff_count;
		}
		shell_print(sh,
			"ts: count=%u  valid=yes  offset=%lld us"
			"  jitter=%lld us  avg_diff=%lld us  age=%lld ms",
			ts_count,
			(long long)ts_offset_us,
			(long long)(mx - mn),
			(long long)avg_diff,
			(long long)(k_uptime_get() - ts_last_rx_ms));
	} else {
		shell_print(sh, "ts: count=%u  valid=no  offset=\xe2\x80\x94", ts_count);
	}
	return 0;
}

static int cmd_ts_clear(const struct shell *sh, size_t argc, char **argv)
{
	ARG_UNUSED(argc);
	ARG_UNUSED(argv);
	ts_count          = 0;
	ts_offset_valid   = false;
	ts_offset_us      = 0;
	ts_t1_prev        = 0;
	ts_t2_prev        = 0;
	ts_last_rx_ms     = 0;
	ts_hist_idx       = 0;
	ts_last_raw_valid = false;
	ts_last_raw       = 0;
	ts_diff_idx       = 0;
	ts_diff_count     = 0;
	for (int i = 0; i < 8; i++) {
		ts_offsets[i] = 0LL;
		ts_diffs[i]   = 0LL;
	}
	shell_print(sh, "cleared");
	return 0;
}

SHELL_STATIC_SUBCMD_SET_CREATE(sub_ts,
	SHELL_CMD(status, NULL, "Show timesync stats", cmd_ts_status),
	SHELL_CMD(clear,  NULL, "Clear timesync state", cmd_ts_clear),
	SHELL_SUBCMD_SET_END
);

SHELL_CMD_REGISTER(ts, &sub_ts, "Timesync commands", NULL);

#endif /* CONFIG_SHELL */
```

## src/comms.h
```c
/*
 * Copyright (c) 2024
 *
 * SPDX-License-Identifier: Apache-2.0
 */
#ifndef _COMMS_H_
#define _COMMS_H_

/* Pi → STM32 message types */
#define MSG_CMD_VEL   0x80
#define MSG_REQ       0x81
#define MSG_SET_RATE  0x82
#define MSG_GET_STATS 0x83
#define MSG_TIMESYNC  0x84
#define MSG_PID_SET        0x85
#define MSG_SERVO_CENTER   0x86
#define MSG_SERVO_WRITE    0x87  /* [0] servo_id  [1:2] delta_us LE (signed, from center) */

void comms_init(void);

#endif /* _COMMS_H_ */
```

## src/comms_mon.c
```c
/*
 * Copyright (c) 2024
 *
 * SPDX-License-Identifier: Apache-2.0
 */

#include <string.h>
#include <zephyr/kernel.h>
#include <zephyr/sys/byteorder.h>
#include <zephyr/shell/shell.h>
#include "protocol.h"
#include "comms.h"
#include "comms_mon.h"

static inline int64_t decode_le64(const uint8_t *p)
{
	return (int64_t)((uint64_t)sys_get_le32(p) |
			 ((uint64_t)sys_get_le32(p + 4) << 32));
}

static const struct shell *mon_shell;

/* Filter bits — default: show everything */
#define MON_FILT_CMD_VEL   BIT(0)
#define MON_FILT_REQ       BIT(1)
#define MON_FILT_SET_RATE  BIT(2)
#define MON_FILT_GET_STATS BIT(3)
#define MON_FILT_TIMESYNC  BIT(4)
#define MON_FILT_UNKNOWN   BIT(5)
#define MON_FILT_ERR       BIT(6)
#define MON_FILT_PID_SET   BIT(7)
#define MON_FILT_ALL       0xFFu
static uint32_t mon_filter = MON_FILT_ALL;

static void comms_mon_err(uint8_t err, uint8_t msg_type, uint8_t detail)
{
	const struct shell *sh = mon_shell;

	if (!sh || !(mon_filter & MON_FILT_ERR)) {
		return;
	}
	int64_t ms = k_uptime_get();

	if (err == PROTO_ERR_CRC) {
		shell_print(sh, "[%8lld] !CRC_ERR  type=0x%02x",
			(long long)ms, msg_type);
	} else {
		shell_print(sh, "[%8lld] !LEN_ERR  type=0x%02x bad_len=%u",
			(long long)ms, msg_type, detail);
	}
}

void comms_mon_rx(uint8_t type, const uint8_t *payload, uint8_t len)
{
	const struct shell *sh = mon_shell;

	if (!sh) {
		return;
	}

	uint32_t fbit;

	switch (type) {
	case MSG_CMD_VEL:   fbit = MON_FILT_CMD_VEL;   break;
	case MSG_REQ:       fbit = MON_FILT_REQ;        break;
	case MSG_SET_RATE:  fbit = MON_FILT_SET_RATE;   break;
	case MSG_GET_STATS: fbit = MON_FILT_GET_STATS;  break;
	case MSG_TIMESYNC:  fbit = MON_FILT_TIMESYNC;   break;
	case MSG_PID_SET:   fbit = MON_FILT_PID_SET;    break;
	default:            fbit = MON_FILT_UNKNOWN;     break;
	}
	if (!(mon_filter & fbit)) {
		return;
	}

	int64_t ms = k_uptime_get();

	switch (type) {
	case MSG_CMD_VEL:
		if (len >= 6) {
			shell_print(sh, "[%8lld] CMD_VEL  l=%-6d r=%-6d steer_us=%d",
				(long long)ms,
				(int)(int16_t)sys_get_le16(&payload[0]),
				(int)(int16_t)sys_get_le16(&payload[2]),
				(int)(int16_t)sys_get_le16(&payload[4]));
		}
		break;
	case MSG_REQ:
		if (len >= 1) {
			shell_print(sh, "[%8lld] REQ      stream=0x%02x",
				(long long)ms, payload[0]);
		}
		break;
	case MSG_SET_RATE:
		if (len >= 3) {
			shell_print(sh, "[%8lld] SET_RATE stream=0x%02x hz=%u",
				(long long)ms, payload[0], sys_get_le16(&payload[1]));
		}
		break;
	case MSG_GET_STATS:
		shell_print(sh, "[%8lld] GET_STATS reset=%u",
			(long long)ms, len >= 1 ? payload[0] : 0u);
		break;
	case MSG_TIMESYNC:
		if (len >= 16) {
			shell_print(sh, "[%8lld] TIMESYNC  t1=%lld t4_prev=%lld",
				(long long)ms,
				(long long)decode_le64(&payload[0]),
				(long long)decode_le64(&payload[8]));
		}
		break;
	case MSG_PID_SET:
		if (len >= 7) {
			int mid = payload[0];
			float kp = (int16_t)sys_get_le16(&payload[1]) / 100.0f;
			float ki = (int16_t)sys_get_le16(&payload[3]) / 100.0f;
			float kd = (int16_t)sys_get_le16(&payload[5]) / 100.0f;

			shell_print(sh,
				"[%8lld] PID_SET  motor=%s kp=%.2f ki=%.2f kd=%.2f",
				(long long)ms,
				mid == 0 ? "L" : mid == 1 ? "R" : "LR",
				(double)kp, (double)ki, (double)kd);
		}
		break;
	default:
		shell_print(sh, "[%8lld] UNKNOWN  type=0x%02x len=%u",
			(long long)ms, type, len);
		break;
	}
}

static const struct { const char *name; uint32_t bit; } filter_map[] = {
	{ "cmd_vel",   MON_FILT_CMD_VEL   },
	{ "req",       MON_FILT_REQ       },
	{ "set_rate",  MON_FILT_SET_RATE  },
	{ "get_stats", MON_FILT_GET_STATS },
	{ "timesync",  MON_FILT_TIMESYNC  },
	{ "unknown",   MON_FILT_UNKNOWN   },
	{ "err",       MON_FILT_ERR       },
	{ "pid_set",   MON_FILT_PID_SET   },
};

static int cmd_mon_filter(const struct shell *sh, size_t argc, char **argv)
{
	if (argc == 1) {
		char buf[64] = "";
		const char *sep = "";

		for (size_t i = 0; i < ARRAY_SIZE(filter_map); i++) {
			if (mon_filter & filter_map[i].bit) {
				strncat(buf, sep, sizeof(buf) - strlen(buf) - 1);
				strncat(buf, filter_map[i].name,
					sizeof(buf) - strlen(buf) - 1);
				sep = ",";
			}
		}
		shell_print(sh, "filter=0x%02x (%s)", mon_filter,
			buf[0] ? buf : "none");
		return 0;
	}
	if (argc == 2 && strcmp(argv[1], "all") == 0) {
		mon_filter = MON_FILT_ALL;
		shell_print(sh, "filter=all");
		return 0;
	}

	uint32_t new_filter = 0;

	for (int a = 1; a < (int)argc; a++) {
		bool found = false;

		for (size_t i = 0; i < ARRAY_SIZE(filter_map); i++) {
			if (strcmp(argv[a], filter_map[i].name) == 0) {
				new_filter |= filter_map[i].bit;
				found = true;
				break;
			}
		}
		if (!found) {
			shell_error(sh,
				"unknown: %s  valid: cmd_vel req set_rate get_stats timesync pid_set unknown err all",
				argv[a]);
			return -EINVAL;
		}
	}
	mon_filter = new_filter;
	shell_print(sh, "filter=0x%02x", mon_filter);
	return 0;
}

static int cmd_comms_mon(const struct shell *sh, size_t argc, char **argv)
{
	ARG_UNUSED(argc);
	ARG_UNUSED(argv);
	if (mon_shell) {
		mon_shell = NULL;
		proto_set_err_cb(NULL);
		shell_print(sh, "monitor off");
	} else {
		mon_shell = sh;
		proto_set_err_cb(comms_mon_err);
		shell_print(sh, "monitor on");
	}
	return 0;
}

SHELL_STATIC_SUBCMD_SET_CREATE(sub_mon,
	SHELL_CMD_ARG(filter, NULL,
		"Show/set filter [all|cmd_vel|req|set_rate|get_stats|timesync|pid_set|unknown|err]",
		cmd_mon_filter, 1, 8),
	SHELL_SUBCMD_SET_END
);

SHELL_SUBCMD_ADD((comms), mon, &sub_mon,
		 "Toggle Pi\xe2\x86\x92STM32 frame monitor", cmd_comms_mon, 0, 0);
```

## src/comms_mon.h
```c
/*
 * Copyright (c) 2024
 *
 * SPDX-License-Identifier: Apache-2.0
 */
#ifndef _COMMS_MON_H_
#define _COMMS_MON_H_

#include <stdint.h>

#ifdef CONFIG_COMMS_MON
void comms_mon_rx(uint8_t type, const uint8_t *payload, uint8_t len);
#else
static inline void comms_mon_rx(uint8_t type, const uint8_t *payload, uint8_t len)
{
	ARG_UNUSED(type);
	ARG_UNUSED(payload);
	ARG_UNUSED(len);
}
#endif

#endif /* _COMMS_MON_H_ */
```

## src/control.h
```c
/*
 * Copyright (c) 2024
 *
 * SPDX-License-Identifier: Apache-2.0
 */
#ifndef _control_h_
#define _control_h_

int control_init();

#endif
```

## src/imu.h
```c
/*
 * Copyright (c) 2024 Valentyn Shevchenko
 * SPDX-License-Identifier: Apache-2.0
 */

#ifndef _IMU_H_
#define _IMU_H_

struct imu_data {
	int16_t accel[3];  /* ×0.001 m/s²  */
	int16_t gyro[3];   /* ×0.001 rad/s */
	int16_t magn[3];   /* ×0.1 µT      */
	int16_t temp;      /* ×0.01 °C     */
};

int imu_init(void);
void imu_shutdown(void);
int imu_whoami(uint8_t *who);
int imu_sample(void);
int imu_get_data(struct imu_data *d);

#endif /* _IMU_H_ */
```
